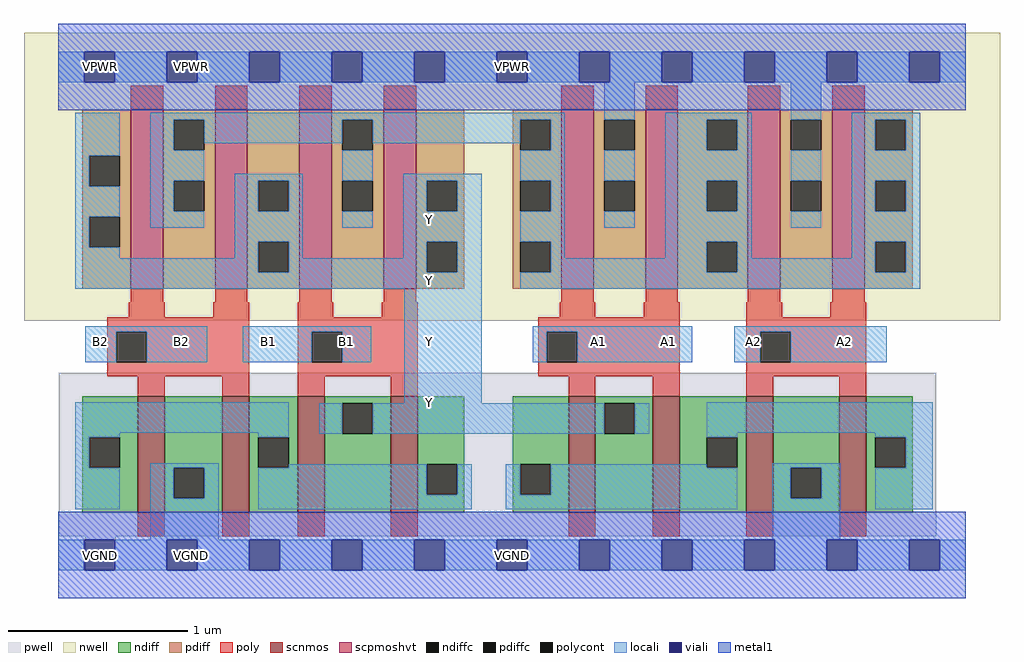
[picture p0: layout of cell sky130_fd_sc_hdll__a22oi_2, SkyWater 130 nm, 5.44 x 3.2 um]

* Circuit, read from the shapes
.subckt sky130_fd_sc_hdll__a22oi_2 A1 A2 B1 B2 VGND VNB VPB VPWR Y
XM1 VGND B2 n1 VNB sky130_fd_pr__nfet_01v8 w=0.65 l=0.15 m=2
XM2 Y B1 n1 VNB sky130_fd_pr__nfet_01v8 w=0.65 l=0.15 m=2
XM3 Y A1 n2 VNB sky130_fd_pr__nfet_01v8 w=0.65 l=0.15 m=2
XM4 VGND A2 n2 VNB sky130_fd_pr__nfet_01v8 w=0.65 l=0.15 m=2
XM5 n3 B2 Y VPB sky130_fd_pr__pfet_01v8_hvt w=1 l=0.18 m=2
XM6 n3 B1 Y VPB sky130_fd_pr__pfet_01v8_hvt w=1 l=0.18 m=2
XM7 VPWR A1 n3 VPB sky130_fd_pr__pfet_01v8_hvt w=1 l=0.18 m=2
XM8 VPWR A2 n3 VPB sky130_fd_pr__pfet_01v8_hvt w=1 l=0.18 m=2
.ends

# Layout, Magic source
magic
tech sky130A
magscale 1 2
<< nwell >>
rect -38 261 1050 582
<< pwell >>
rect 1 21 979 203
rect 30 -17 64 21
<< scnmos >>
rect 89 47 119 177
rect 183 47 213 177
rect 267 47 297 177
rect 371 47 401 177
rect 569 47 599 177
rect 663 47 693 177
rect 767 47 797 177
rect 871 47 901 177
<< scpmoshvt >>
rect 81 297 117 497
rect 175 297 211 497
rect 269 297 305 497
rect 363 297 399 497
rect 561 297 597 497
rect 655 297 691 497
rect 769 297 805 497
rect 863 297 899 497
<< ndiff >>
rect 27 131 89 177
rect 27 97 35 131
rect 69 97 89 131
rect 27 47 89 97
rect 119 97 183 177
rect 119 63 129 97
rect 163 63 183 97
rect 119 47 183 63
rect 213 131 267 177
rect 213 97 223 131
rect 257 97 267 131
rect 213 47 267 97
rect 297 169 371 177
rect 297 135 317 169
rect 351 135 371 169
rect 297 47 371 135
rect 401 101 453 177
rect 401 67 411 101
rect 445 67 453 101
rect 401 47 453 67
rect 507 101 569 177
rect 507 67 515 101
rect 549 67 569 101
rect 507 47 569 67
rect 599 169 663 177
rect 599 135 609 169
rect 643 135 663 169
rect 599 47 663 135
rect 693 131 767 177
rect 693 97 723 131
rect 757 97 767 131
rect 693 47 767 97
rect 797 97 871 177
rect 797 63 817 97
rect 851 63 871 97
rect 797 47 871 63
rect 901 131 953 177
rect 901 97 911 131
rect 945 97 953 131
rect 901 47 953 97
<< pdiff >>
rect 27 445 81 497
rect 27 411 35 445
rect 69 411 81 445
rect 27 377 81 411
rect 27 343 35 377
rect 69 343 81 377
rect 27 297 81 343
rect 117 485 175 497
rect 117 451 129 485
rect 163 451 175 485
rect 117 417 175 451
rect 117 383 129 417
rect 163 383 175 417
rect 117 297 175 383
rect 211 417 269 497
rect 211 383 223 417
rect 257 383 269 417
rect 211 349 269 383
rect 211 315 223 349
rect 257 315 269 349
rect 211 297 269 315
rect 305 485 363 497
rect 305 451 317 485
rect 351 451 363 485
rect 305 417 363 451
rect 305 383 317 417
rect 351 383 363 417
rect 305 297 363 383
rect 399 417 453 497
rect 399 383 411 417
rect 445 383 453 417
rect 399 349 453 383
rect 399 315 411 349
rect 445 315 453 349
rect 399 297 453 315
rect 507 485 561 497
rect 507 451 515 485
rect 549 451 561 485
rect 507 417 561 451
rect 507 383 515 417
rect 549 383 561 417
rect 507 349 561 383
rect 507 315 515 349
rect 549 315 561 349
rect 507 297 561 315
rect 597 485 655 497
rect 597 451 609 485
rect 643 451 655 485
rect 597 417 655 451
rect 597 383 609 417
rect 643 383 655 417
rect 597 297 655 383
rect 691 485 769 497
rect 691 451 723 485
rect 757 451 769 485
rect 691 417 769 451
rect 691 383 723 417
rect 757 383 769 417
rect 691 349 769 383
rect 691 315 723 349
rect 757 315 769 349
rect 691 297 769 315
rect 805 485 863 497
rect 805 451 817 485
rect 851 451 863 485
rect 805 417 863 451
rect 805 383 817 417
rect 851 383 863 417
rect 805 297 863 383
rect 899 485 953 497
rect 899 451 911 485
rect 945 451 953 485
rect 899 417 953 451
rect 899 383 911 417
rect 945 383 953 417
rect 899 349 953 383
rect 899 315 911 349
rect 945 315 953 349
rect 899 297 953 315
<< ndiffc >>
rect 35 97 69 131
rect 129 63 163 97
rect 223 97 257 131
rect 317 135 351 169
rect 411 67 445 101
rect 515 67 549 101
rect 609 135 643 169
rect 723 97 757 131
rect 817 63 851 97
rect 911 97 945 131
<< pdiffc >>
rect 35 411 69 445
rect 35 343 69 377
rect 129 451 163 485
rect 129 383 163 417
rect 223 383 257 417
rect 223 315 257 349
rect 317 451 351 485
rect 317 383 351 417
rect 411 383 445 417
rect 411 315 445 349
rect 515 451 549 485
rect 515 383 549 417
rect 515 315 549 349
rect 609 451 643 485
rect 609 383 643 417
rect 723 451 757 485
rect 723 383 757 417
rect 723 315 757 349
rect 817 451 851 485
rect 817 383 851 417
rect 911 451 945 485
rect 911 383 945 417
rect 911 315 945 349
<< poly >>
rect 81 497 117 523
rect 175 497 211 523
rect 269 497 305 523
rect 363 497 399 523
rect 561 497 597 523
rect 655 497 691 523
rect 769 497 805 523
rect 863 497 899 523
rect 81 282 117 297
rect 175 282 211 297
rect 269 282 305 297
rect 363 282 399 297
rect 561 282 597 297
rect 655 282 691 297
rect 769 282 805 297
rect 863 282 899 297
rect 79 265 119 282
rect 173 265 213 282
rect 55 249 213 265
rect 55 215 65 249
rect 99 215 213 249
rect 55 199 213 215
rect 89 177 119 199
rect 183 177 213 199
rect 267 265 307 282
rect 361 265 401 282
rect 559 265 599 282
rect 653 265 693 282
rect 267 249 401 265
rect 267 215 283 249
rect 317 215 401 249
rect 267 199 401 215
rect 535 249 693 265
rect 535 215 545 249
rect 579 215 693 249
rect 535 199 693 215
rect 267 177 297 199
rect 371 177 401 199
rect 569 177 599 199
rect 663 177 693 199
rect 767 265 807 282
rect 861 265 901 282
rect 767 249 901 265
rect 767 215 783 249
rect 817 215 901 249
rect 767 199 901 215
rect 767 177 797 199
rect 871 177 901 199
rect 89 21 119 47
rect 183 21 213 47
rect 267 21 297 47
rect 371 21 401 47
rect 569 21 599 47
rect 663 21 693 47
rect 767 21 797 47
rect 871 21 901 47
<< polycont >>
rect 65 215 99 249
rect 283 215 317 249
rect 545 215 579 249
rect 783 215 817 249
<< locali >>
rect 0 527 29 561
rect 63 527 121 561
rect 155 527 213 561
rect 247 527 305 561
rect 339 527 397 561
rect 431 527 489 561
rect 523 527 581 561
rect 615 527 673 561
rect 707 527 765 561
rect 799 527 857 561
rect 891 527 949 561
rect 983 527 1012 561
rect 19 445 69 493
rect 19 411 35 445
rect 19 377 69 411
rect 19 343 35 377
rect 103 485 565 493
rect 103 451 129 485
rect 163 459 317 485
rect 103 417 163 451
rect 351 459 515 485
rect 103 383 129 417
rect 103 365 163 383
rect 197 417 273 425
rect 197 383 223 417
rect 257 383 273 417
rect 19 331 69 343
rect 197 349 273 383
rect 317 417 351 451
rect 549 451 565 485
rect 317 365 351 383
rect 385 417 472 425
rect 385 383 411 417
rect 445 383 472 417
rect 197 331 223 349
rect 19 315 223 331
rect 257 331 273 349
rect 385 349 472 383
rect 385 331 411 349
rect 257 315 411 331
rect 445 315 472 349
rect 19 297 472 315
rect 515 417 565 451
rect 549 383 565 417
rect 515 349 565 383
rect 609 485 643 527
rect 609 417 643 451
rect 609 365 643 383
rect 677 485 773 493
rect 677 451 723 485
rect 757 451 773 485
rect 677 417 773 451
rect 677 383 723 417
rect 757 383 773 417
rect 549 331 565 349
rect 677 349 773 383
rect 817 485 851 527
rect 817 417 851 451
rect 817 365 851 383
rect 885 485 961 493
rect 885 451 911 485
rect 945 451 961 485
rect 885 417 961 451
rect 885 383 911 417
rect 945 383 961 417
rect 677 331 723 349
rect 549 315 723 331
rect 757 331 773 349
rect 885 349 961 383
rect 885 331 911 349
rect 757 315 911 331
rect 945 315 961 349
rect 515 297 961 315
rect 30 249 166 255
rect 30 215 65 249
rect 99 215 166 249
rect 206 249 349 255
rect 206 215 283 249
rect 317 215 349 249
rect 19 136 257 170
rect 386 169 472 297
rect 529 249 707 255
rect 529 215 545 249
rect 579 215 707 249
rect 754 249 924 255
rect 754 215 783 249
rect 817 215 924 249
rect 19 131 69 136
rect 19 97 35 131
rect 223 131 257 136
rect 291 135 317 169
rect 351 135 609 169
rect 643 135 659 169
rect 723 136 975 170
rect 19 51 69 97
rect 103 97 179 102
rect 103 63 129 97
rect 163 63 179 97
rect 103 17 179 63
rect 723 131 757 136
rect 257 97 411 101
rect 223 67 411 97
rect 445 67 461 101
rect 223 51 461 67
rect 499 67 515 101
rect 549 97 723 101
rect 911 131 975 136
rect 549 67 757 97
rect 499 51 757 67
rect 796 97 872 102
rect 796 63 817 97
rect 851 63 872 97
rect 796 17 872 63
rect 945 97 975 131
rect 911 51 975 97
rect 0 -17 29 17
rect 63 -17 121 17
rect 155 -17 213 17
rect 247 -17 305 17
rect 339 -17 397 17
rect 431 -17 489 17
rect 523 -17 581 17
rect 615 -17 673 17
rect 707 -17 765 17
rect 799 -17 857 17
rect 891 -17 949 17
rect 983 -17 1012 17
<< viali >>
rect 29 527 63 561
rect 121 527 155 561
rect 213 527 247 561
rect 305 527 339 561
rect 397 527 431 561
rect 489 527 523 561
rect 581 527 615 561
rect 673 527 707 561
rect 765 527 799 561
rect 857 527 891 561
rect 949 527 983 561
rect 29 -17 63 17
rect 121 -17 155 17
rect 213 -17 247 17
rect 305 -17 339 17
rect 397 -17 431 17
rect 489 -17 523 17
rect 581 -17 615 17
rect 673 -17 707 17
rect 765 -17 799 17
rect 857 -17 891 17
rect 949 -17 983 17
<< metal1 >>
rect 0 561 1012 592
rect 0 527 29 561
rect 63 527 121 561
rect 155 527 213 561
rect 247 527 305 561
rect 339 527 397 561
rect 431 527 489 561
rect 523 527 581 561
rect 615 527 673 561
rect 707 527 765 561
rect 799 527 857 561
rect 891 527 949 561
rect 983 527 1012 561
rect 0 496 1012 527
rect 0 17 1012 48
rect 0 -17 29 17
rect 63 -17 121 17
rect 155 -17 213 17
rect 247 -17 305 17
rect 339 -17 397 17
rect 431 -17 489 17
rect 523 -17 581 17
rect 615 -17 673 17
rect 707 -17 765 17
rect 799 -17 857 17
rect 891 -17 949 17
rect 983 -17 1012 17
rect 0 -48 1012 -17
<< labels >>
flabel locali s 664 221 698 255 0 FreeSans 200 0 0 0 A1
port 1 nsew signal input
flabel locali s 585 221 619 255 0 FreeSans 200 0 0 0 A1
port 1 nsew signal input
flabel locali s 758 221 792 255 0 FreeSans 200 0 0 0 A2
port 2 nsew signal input
flabel locali s 860 221 894 255 0 FreeSans 200 0 0 0 A2
port 2 nsew signal input
flabel locali s 304 221 338 255 0 FreeSans 200 0 0 0 B1
port 3 nsew signal input
flabel locali s 121 221 155 255 0 FreeSans 200 0 0 0 B2
port 4 nsew signal input
flabel locali s 397 153 431 187 0 FreeSans 200 0 0 0 Y
port 9 nsew signal output
flabel locali s 397 221 431 255 0 FreeSans 200 0 0 0 Y
port 9 nsew signal output
flabel locali s 397 357 431 391 0 FreeSans 200 0 0 0 Y
port 9 nsew signal output
flabel locali s 397 289 431 323 0 FreeSans 200 0 0 0 Y
port 9 nsew signal output
flabel locali s 132 527 166 561 0 FreeSans 200 0 0 0 VPWR
port 8 nsew power bidirectional
flabel locali s 132 -17 166 17 0 FreeSans 200 0 0 0 VGND
port 5 nsew ground bidirectional
flabel locali s 30 221 64 255 0 FreeSans 200 0 0 0 B2
port 4 nsew signal input
flabel locali s 217 221 251 255 0 FreeSans 200 0 0 0 B1
port 3 nsew signal input
flabel metal1 s 30 527 64 561 0 FreeSans 200 0 0 0 VPWR
port 8 nsew power bidirectional
flabel metal1 s 30 -17 64 17 0 FreeSans 200 0 0 0 VGND
port 5 nsew ground bidirectional
flabel nwell s 30 527 64 561 0 FreeSans 200 0 0 0 VPB
port 7 nsew power bidirectional
flabel pwell s 30 -17 64 17 0 FreeSans 200 0 0 0 VNB
port 6 nsew ground bidirectional
rlabel comment s 0 0 0 0 4 a22oi_2
rlabel metal1 s 0 -48 1012 48 1 VGND
port 5 nsew ground bidirectional
rlabel metal1 s 0 496 1012 592 1 VPWR
port 8 nsew power bidirectional
<< properties >>
string LEFsite unithd
string LEFclass CORE
string FIXED_BBOX 0 0 1012 544
string GDS_FILE $PDKPATH/libs.ref/sky130_fd_sc_hdll/gds/sky130_fd_sc_hdll.gds
string LEFsymmetry X Y R90
string GDS_END 676354
string GDS_START 667452
string LEFproperties maskLayoutSubType "abstract" prCellType "standard" originalViewName "layout"
<< end >>
